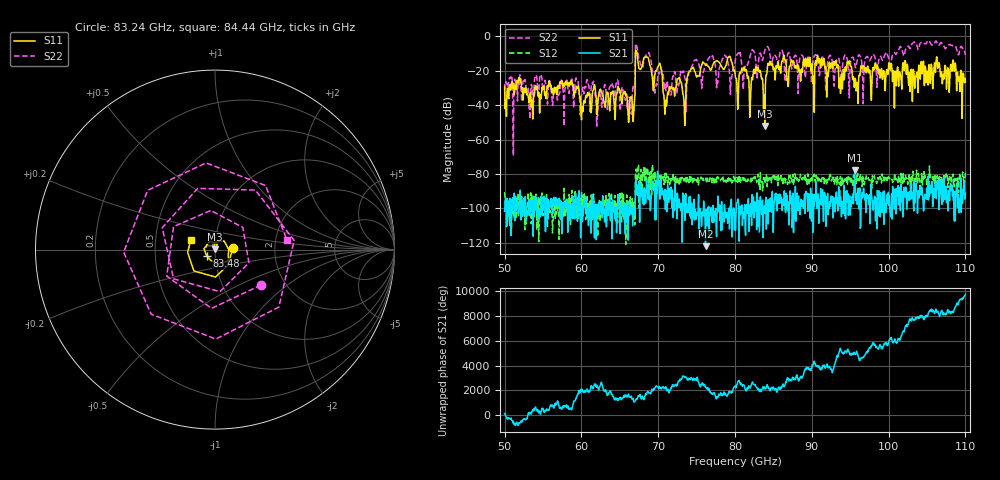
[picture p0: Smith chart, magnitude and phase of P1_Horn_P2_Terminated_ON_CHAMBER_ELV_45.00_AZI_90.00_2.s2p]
! 11/26/2026 11:13:29 AM
! C:\ANRITSUVNA\TEMP\TEMP.S2P
! CHANNEL.1
! TR.MEASUREMENT
! RAW.DATA
# HZ S RI R 50.0
! FREQ.HZ  S11RE  S11IM  S21RE  S21IM  S12RE  S12IM  S22RE  S22IM
!; PortSelection: Port_12
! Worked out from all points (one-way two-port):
!   1001 points, 50 GHz to 110 GHz, reference 50 ohm
!   highest |S21| = -77.82 dB at 95.6 GHz (marker M1); lowest = -121.9 dB at 76.16 GHz (marker M2)
!   lowest |S11| = -52.0 dB at 83.9 GHz (marker M3), VSWR 1.01, Z = 49.8 + j0.138 ohm
!   |S11| at or under -10 dB: start of sweep to 67.04 GHz; 67.24 GHz to end of sweep
!   |S22| runs from -69.3 to -2.3 dB; largest |S21 - S12| = 0.00021
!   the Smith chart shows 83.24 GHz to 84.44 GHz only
!   S11 on the Smith chart (normalised r, x): 83.24 GHz: 1.22, +0.02; 83.48 GHz: 0.91, -0.06; 84.44 GHz: 0.76, +0.08
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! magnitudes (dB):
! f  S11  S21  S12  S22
! 50 GHz  -29.3  -101.6  -90.6  -27.7
! 58.46 GHz  -27.0  -97.8  -98.9  -28.6
! 60.02 GHz  -48.5  -100.1  -90.8  -34.4
! 66.26 GHz  -39.6  -104.1  -100.2  -36.1
! 66.68 GHz  -43.0  -110.2  -99.2  -30.4
! 67.34 GHz  -13.7  -86.4  -78.4  -8.5
! 70.04 GHz  -17.1  -86.5  -84.2  -20.9
! 71.06 GHz  -40.5  -96.8  -79.6  -29.7
! 76.16 GHz  -16.6  -121.9  -83.0  -15.8
! 79.28 GHz  -11.5  -111.9  -82.0  -21.0
! 80 GHz  -21.2  -102.6  -84.9  -15.3
! 83.24 GHz  -20.0  -103.0  -89.9  -9.8
! 83.48 GHz  -24.7  -103.3  -84.9  -13.2
! 83.9 GHz  -52.0  -102.8  -82.2  -7.9
! 84.44 GHz  -16.8  -94.8  -83.3  -7.9
! 90.02 GHz  -16.0  -91.7  -84.4  -23.9
! 94.88 GHz  -14.2  -95.4  -82.6  -35.8
! 95.6 GHz  -26.8  -77.8  -87.3  -15.9
! 100 GHz  -15.6  -98.4  -82.1  -13.5
! 103.3 GHz  -20.4  -101.4  -80.8  -3.4
! 106.3 GHz  -11.8  -84.2  -82.5  -3.3
! 110 GHz  -26.4  -91.2  -79.1  -10.9
